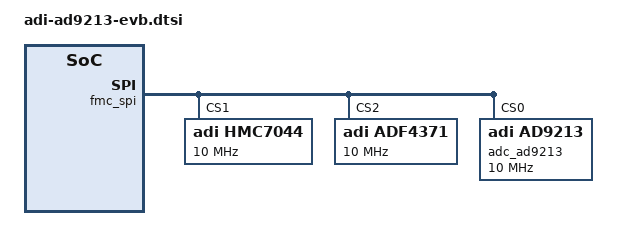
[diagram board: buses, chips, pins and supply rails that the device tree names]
// SPDX-License-Identifier: GPL-2.0iio
#include <dt-bindings/iio/frequency/hmc7044.h>

&fmc_spi {
	status = "okay";

	hmc7044: hmc7044@1 {
		reg = <1>;
		#address-cells = <1>;
		#size-cells = <0>;
		#clock-cells = <1>;
		compatible = "adi,hmc7044";
		spi-max-frequency = <10000000>;

		jesd204-device;
		#jesd204-cells = <2>;
		jesd204-sysref-provider;
		adi,jesd204-max-sysref-frequency-hz = <20000000>;

		adi,pll1-clkin-frequencies = <0 0 0 100000000>;
		adi,vcxo-frequency = <125000000>;

		adi,pll1-loop-bandwidth-hz = <200>;

		adi,pll2-output-frequency = <2500000000>;

		adi,sysref-timer-divider = <1024>;
		adi,pulse-generator-mode = <0>;
		
		adi,clkin3-buffer-mode  = <0x15>;
		adi,oscin-buffer-mode = <0x15>;

		adi,gpi-controls = <0x00 0x00 0x00 0x00>;
		adi,gpo-controls = <0x1f 0x2b 0x00 0x00>;

		clock-output-names =
			"hmc7044_out0", "hmc7044_out1", "hmc7044_out2",
			"hmc7044_out3", "hmc7044_out4", "hmc7044_out5",
			"hmc7044_out6", "hmc7044_out7", "hmc7044_out8",
			"hmc7044_out9", "hmc7044_out10", "hmc7044_out11",
			"hmc7044_out12", "hmc7044_out13";

		hmc7044_c1: channel@1 {
			reg = <1>;
			adi,extended-name = "FMC_SYSREF";
			adi,divider = <128>;
			adi,driver-mode = <1>;	// LVPECL
			adi,jesd204-sysref-chan;
		};
		hmc7044_c4: channel@4 {
			reg = <4>;
			adi,extended-name = "CLKOUT_MMCX";
			adi,divider = <8>;	
			adi,driver-mode = <1>;	// LVPECL
		};
		hmc7044_c5: channel@5 {
			reg = <5>;
			adi,extended-name = "CLK_COPY";
			adi,divider = <4>;	
			adi,driver-mode = <1>;	// LVPECL
		};
		hmc7044_c7: channel@7 {
			reg = <7>;
			adi,extended-name = "FMC_REFCLK1";
			adi,divider = <4>;	
			adi,driver-mode = <1>;	// LVPECL
		};
		hmc7044_c9: channel@9 {
			reg = <9>;
			adi,extended-name = "CORE_CLK";
			adi,divider = <8>;	
			adi,driver-mode = <1>;	// LVPECL
		};
		hmc7044_c11: channel@11 {
			reg = <11>;
			adi,extended-name = "FMC_REFCLK";
			adi,divider = <8>;	
			adi,driver-mode = <1>;	// LVPECL
		};
	};
	
	adf4371: adf4371@2 {
		compatible = "adi,adf4371";
		reg = <2>;

		#address-cells = <1>;
		#clock-cells = <1>;
		#size-cells = <0>;

		spi-max-frequency = <10000000>;
		adi,spi-3wire-enable;
		adi,muxout-select = <1>;
		clocks = <&hmc7044 5>;
		clock-names = "clkin";
		clock-output-names = "pll0-clk-rf8", "pll0-clk-rfaux8",
			"pll0-clk-rf16", "pll0-clk-rf32";

		channel@2 {
			reg = <2>;
			adi,output-enable;
			adi,power-up-frequency = /bits/ 64 <10000000000>;
		};
	};

	adc_ad9213: ad9213@0 {
		compatible = "adi,ad9213";
		reg = <0>;
		#address-cells = <1>;
		#size-cells = <0>;
		spi-max-frequency = <10000000>;

		clocks =  <&adf4371 2>, <&axi_ad9213_jesd_rx>, <&hmc7044 9>;
		clock-names = "sample_clk", "jesd_clk", "core_clk";

		clock-output-names = "sampl_clk";
		#clock-cells = <1>;

		jesd204-device;
		#jesd204-cells = <2>;
		jesd204-top-device = <0>; /* This is the TOP device */
		jesd204-link-ids = <0>;
		jesd204-inputs = <&rx_ad9213_tpl_core_tpl 0 0>;

		//adi,syncinb-c0mos-enable;
		adi,version = <1>;

		adi,octets-per-frame = <2>;
		adi,frames-per-multiframe = <32>;
		adi,converter-resolution = <16>;
		adi,bits-per-sample = <16>;
		adi,converters-per-device = <1>;
		adi,control-bits-per-sample = <0>;
		adi,lanes-per-device = <16>;
		adi,subclass = <1>;
		adi,high-density = <0>;
		adi,samples-per-converter-per-frame = <16>;
	};
};
